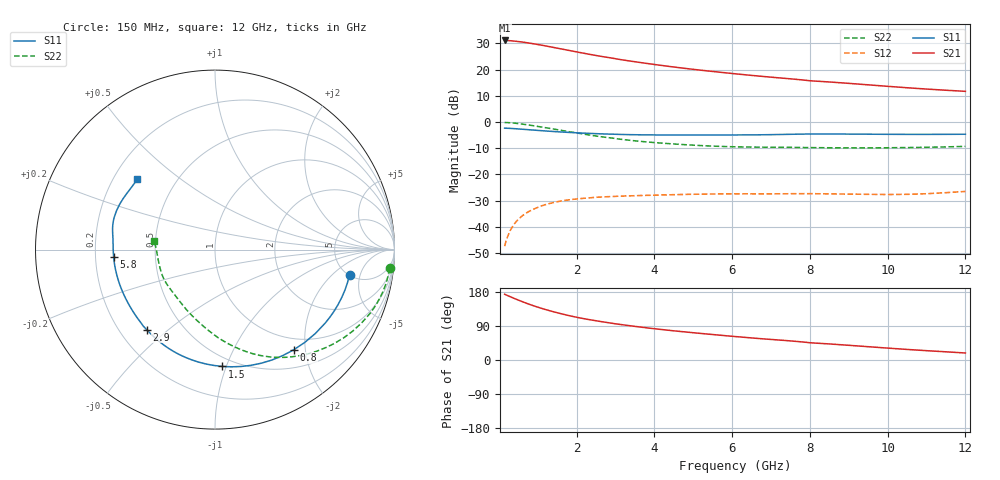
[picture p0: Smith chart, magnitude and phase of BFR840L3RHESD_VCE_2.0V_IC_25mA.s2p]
! Infineon Technologies  Discrete & RF Semiconductors
! BFR840L3RHESD
! VCE =  2.0 V,  IC =  25 mA
! Common Emitter S-Parameters:  Jun 2012
# GHz  S  MA  R  50
!  f  S11  S21  S12  S22
! GHz  MAG  ANG  MAG  ANG  MAG  ANG  MAG  ANG
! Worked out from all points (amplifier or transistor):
!   91 points, 150 MHz to 12 GHz, reference 50 ohm
!   highest |S21| = 31.1 dB at 150 MHz (marker M1)
!   |S21| within 3 dB of that: start of sweep to 1.527 GHz
!   unconditionally stable (mu >= 1): 6.942 GHz to end of sweep
!   at 1.3 GHz: K = 0.21, MSG = 29.9 dB, |S12| = -31.1 dB
!   at 4.3 GHz: K = 0.63, MSG = 24.6 dB, |S12| = -27.8 dB
!   at 12 GHz: K = 1.74, MAG = 14.1 dB, |S12| = -26.5 dB
!   S11 on the Smith chart (normalised r, x): 150 MHz: 5.11, -3.39; 800 MHz: 0.79, -1.78; 1.5 GHz: 0.43, -0.97; 2.9 GHz: 0.31, -0.42; 5.8 GHz: 0.28, -0.03; 12 GHz: 0.30, +0.35
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0.15  0.7625 -10.5  35.82 173.5  0.0043 72.5  0.978 -6.1
0.3  0.755 -20.6  35.35 166.8  0.0087 72.8  0.9658 -13.6
0.5  0.738 -33.7  34.15 158.2  0.0139 71.1  0.9334 -22.5
0.6  0.7286 -40.0  33.41 154.1  0.0162 69.0  0.9132 -26.6
0.8  0.71 -51.8  31.77 146.4  0.0202 63.5  0.8695 -34.4
1  0.692 -62.8  30.01 139.5  0.0236 57.7  0.8242 -41.5
1.1  0.6834 -67.9  29.11 136.3  0.0252 55.1  0.8017 -44.9
1.3  0.6671 -77.5  27.32 130.3  0.0279 50.6  0.7576 -51.2
1.5  0.6524 -86.4  25.58 124.8  0.0302 47.2  0.7151 -57.1
1.9  0.6277 -102.0  22.42 115.0  0.0335 41.8  0.6369 -67.5
2.2  0.6126 -112.1  20.34 108.9  0.0352 38.1  0.5851 -74.2
2.5  0.5997 -120.6  18.52 103.6  0.0367 35.2  0.5407 -80.3
2.9  0.5864 -130.6  16.55 97.1  0.038 32.5  0.4948 -87.4
3.5  0.572 -143.4  14.07 88.7  0.0394 29.3  0.438 -97.3
4.2  0.5661 -155.1  11.93 80.3  0.0407 27.1  0.3953 -107.5
5  0.5651 -166.5  10.09 72.0  0.0419 26.0  0.3619 -118.5
5.8  0.5663 -176.0  8.707 64.4  0.0426 25.6  0.3411 -128.8
6.1  0.5669 -179.1  8.266 61.7  0.0427 25.3  0.3365 -132.6
8  0.5896 162.2  6.11 45.5  0.0431 23.9  0.325 -157.1
8.5  0.5899 158.5  5.792 42.4  0.0427 24.0  0.323 -161.5
10.5  0.5808 144.8  4.495 27.9  0.0418 31.4  0.3257 -178.8
12  0.5844 137.9  3.839 18.5  0.0475 38.2  0.3431 172.2
